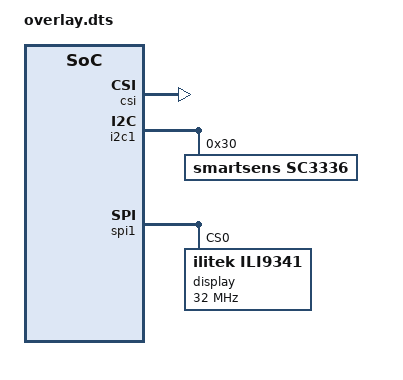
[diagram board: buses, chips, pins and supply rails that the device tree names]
/dts-v1/;
/plugin/;

/*
 * Пример фрагментов Device Tree для Luckfox.
 * Не применяется на ноутбуке. Подключается при сборке ядра платы.
 *
 * Камера SC3336: MIPI CSI + I2C (не SPI).
 * Дисплей ILI9431: SPI + framebuffer, сенсор — I2C/SPI evdev.
 */

&csi {
	status = "okay";
};

&i2c1 {
	status = "okay";
	sc3336: camera@30 {
		compatible = "smartsens,sc3336";
		reg = <0x30>;
		status = "okay";
	};
};

&spi1 {
	status = "okay";
	display@0 {
		compatible = "ilitek,ili9341";
		reg = <0>;
		spi-max-frequency = <32000000>;
		status = "okay";
	};
};
